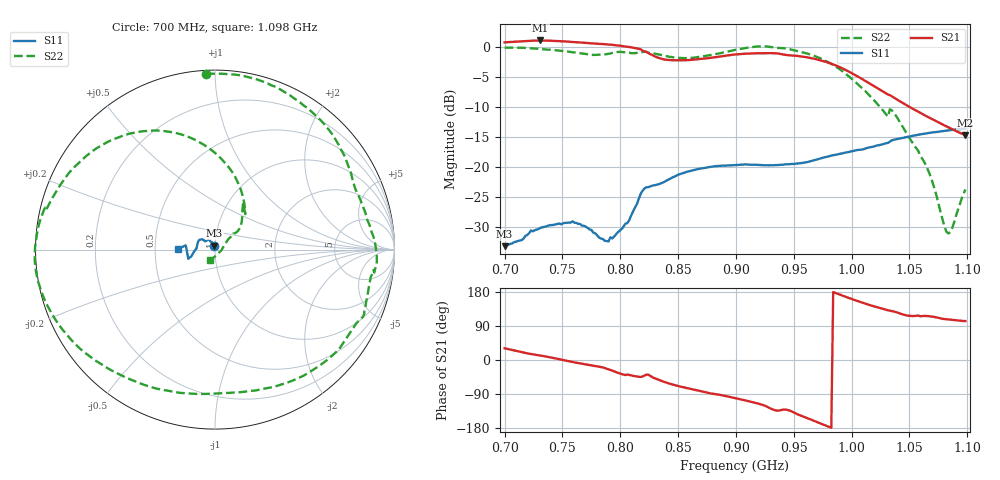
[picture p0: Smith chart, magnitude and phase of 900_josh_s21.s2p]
!Created with skrf (http://scikit-rf.org).
# Hz S RI R 50.0
!freq ReS11 ImS11 ReS21 ImS21 ReS12 ImS12 ReS22 ImS22
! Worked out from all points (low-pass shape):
!   245 points, 700 MHz to 1.098 GHz, reference 50 ohm
!   highest |S21| = 1.02 dB at 731 MHz (marker M1); lowest = -14.8 dB at 1.098 GHz (marker M2)
!   |S21| within 3 dB of the highest: start of sweep to 834.7 MHz; 873.8 MHz to 966.2 MHz (92.47 MHz wide, 10.1 % of centre)
!   lowest |S11| = -33.3 dB at 700 MHz (marker M3), VSWR 1.04, Z = 49.6 + j2.13 ohm
!   |S11| at or under -10 dB: start of sweep to end of sweep
!   |S22| runs from -31.1 to 0.1 dB; largest |S21 - S12| = 1.1
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7e8  -0.00305 0.0215  0.9306 0.5566  0 0  -0.0487 0.978
7.3102e8  -0.0112 0.0288  1.102 0.2291  0 0  0.4197 0.8582
7.6694e8  -0.0198 0.0254  1.062 -0.1863  0 0  0.7445 0.4603
7.8979e8  -0.0109 0.0211  0.9457 -0.4344  0 0  0.8613 0.136
8.0449e8  -0.00187 0.0334  0.7681 -0.6375  0 0  0.8872 -0.1279
8.1755e8  -0.0288 0.0516  0.6759 -0.668  0 0  0.8376 -0.3221
8.2081e8  -0.036 0.0547  0.6876 -0.6015  0 0  0.8319 -0.3564
8.3388e8  -0.0546 0.0463  0.4816 -0.64  0 0  0.4911 -0.7038
8.6816e8  -0.0775 0.0562  0.1165 -0.7774  0 0  -0.1894 -0.7987
8.9918e8  -0.0886 0.0524  -0.156 -0.8453  0 0  -0.7762 -0.5291
9.2694e8  -0.1009 0.0177  -0.4832 -0.7366  0 0  -1.002 0.0195
9.351e8  -0.1025 0.00822  -0.6028 -0.6389  0 0  -0.9534 0.22
9.4653e8  -0.1046 0.00401  -0.583 -0.6132  0 0  -0.9059 0.2881
9.6612e8  -0.1116 -0.00458  -0.7431 -0.2881  0 0  -0.5993 0.5992
9.8244e8  -0.1217 -0.0195  -0.7197 -0.0143  0 0  -0.2814 0.6601
1.00204e9  -0.1306 -0.0358  -0.5474 0.212  0 0  0.0216 0.5191
1.03142e9  -0.1489 -0.0513  -0.2625 0.2997  0 0  0.1687 0.1979
1.03306e9  -0.1608 0.0144  -0.2555 0.3002  0 0  0.1578 0.2551
1.06408e9  -0.1882 0.013  -0.117 0.2377  0 0  0.0804 0.0646
1.08204e9  -0.1993 0.00701  -0.0649 0.206  0 0  0.0246 -0.0146
1.08694e9  -0.2023 0.00531  -0.0563 0.1971  0 0  0.00915 -0.0293
1.09836e9  -0.2077 0.00127  -0.04 0.1779  0 0  -0.0251 -0.0594
